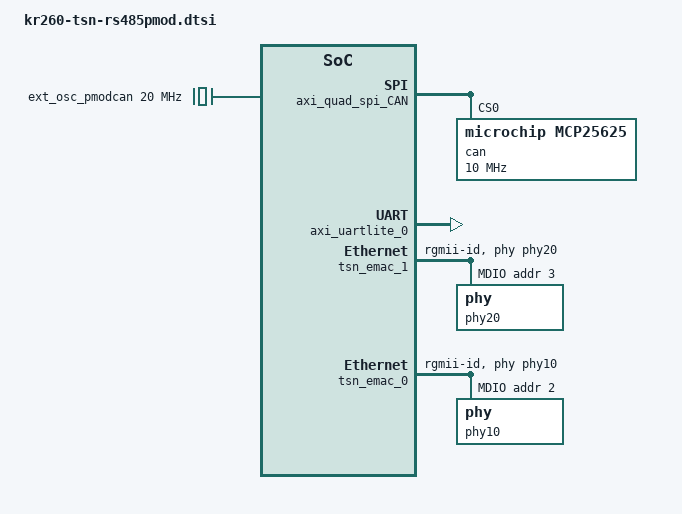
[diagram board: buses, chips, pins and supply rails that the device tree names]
// SPDX-License-Identifier: Apache-2.0
/*
 * dts file for Xilinx KR260 TSN
 *
 * (C) Copyright 2021 - 2022, Xilinx, Inc.
 * Copyright (C) 2023 - 2024, Advanced Micro Devices, Inc.
 *
 */

/dts-v1/;
/plugin/;

&fpga_full {
	#address-cells = <2>;
	#size-cells = <2>;
	firmware-name = "kr260-tsn-rs485pmod.bit.bin";
	resets = <&zynqmp_reset 116>;
};

&amba {
	afi0: afi0 {
		compatible = "xlnx,afi-fpga";
		config-afi = <0 0>, <1 0>, <2 0>, <3 0>, <4 0>, <5 0>, <6 0>, <7 0>, <8 0>, <9 0>, <10 0>, <11 0>, <12 0>, <13 0>, <14 0xa00>, <15 0x000>;
	};

	clk_out_200M: clk_out_200M { /* clk_out1 - clk_wiz_0 */
		compatible = "fixed-factor-clock";
		clocks = <&clk_25_0>; /* u92/91 - 25MHz clock - modelled in board dts */
		#clock-cells = <0>;
		clock-div = <1>;
		clock-mult = <8>;
	};

	clk_out_125M: clk_out_125M { /* clk_out2 - clk_wiz_0 */
		compatible = "fixed-factor-clock";
		clocks = <&clk_25_0>; /* u92/91 - 25MHz clock - modelled in board dts */
		#clock-cells = <0>;
		clock-div = <1>;
		clock-mult = <5>;
	};

	clk_out_300M: clk_out_300M { /* clk_out3 - clk_wiz_0 */
		compatible = "fixed-factor-clock";
		clocks = <&clk_25_0>; /* u92/91 - 25MHz clock - modelled in board dts */
		#clock-cells = <0>;
		clock-div = <1>;
		clock-mult = <12>;
	};

	clk_out_100M: clk_out_100M { /* clk_out4 - clk_wiz_0 */
		compatible = "fixed-factor-clock";
		clocks = <&clk_25_0>; /* u92/91 - 25MHz clock - modelled in board dts */
		#clock-cells = <0>;
		clock-div = <1>;
		clock-mult = <4>;
	};

	axi_intc_0: interrupt-controller@80020000 {
		clock-names = "s_axi_clk";
		clocks = <&clk_out_100M>;
		#interrupt-cells = <2>;
		compatible = "xlnx,xps-intc-1.00.a";
		interrupt-controller ;
		interrupt-parent = <&gic>;
		interrupts = <0 89 4>;
		reg = <0x0 0x80020000 0x0 0x1000>;
		xlnx,kind-of-intr = <0x000>;
		xlnx,num-intr-inputs = <0x20>;
	};
 
	/* ext_osc_pmodcan: External oscillator (X1) residing on Digilent PmodCAN device.
	Supplies 20MHz fixed clock to MCP25625 CAN Controller on the device to enable
  	communication. Refer PmodCAN schematic for details. */
 
 	ext_osc_pmodcan: ext_osc_pmodcan {
                compatible = "fixed-clock";
                #clock-cells = <0>;
                clock-frequency = <20000000>;
                clock-output-names = "ext_osc_pmodcan";
	};

	axi_quad_spi_CAN: axi_quad_spi@80080000 {
		bits-per-word = <8>;
		clock-names = "ext_spi_clk", "s_axi_clk";
		clocks = <&clk_out_100M>, <&clk_out_100M>;
		compatible = "xlnx,axi-quad-spi-3.2", "xlnx,xps-spi-2.00.a";
		fifo-size = <16>;
		interrupt-names = "ip2intc_irpt";
		interrupt-parent = <&axi_intc_0>;
		interrupts = <17 1>;
		num-cs = <0x1>;
		reg = <0x0 0x80080000 0x0 0x10000>;
		xlnx,num-ss-bits = <0x1>;
		xlnx,spi-mode = <0>;
    		can@0 {
			compatible = "microchip,mcp25625";
			reg = <0>;
			clocks = <&ext_osc_pmodcan>;
			interrupt-names = "can_int";
                       	interrupt-parent = <&axi_intc_0>; 
			interrupts = <16 1>;
			spi-max-frequency = <10000000>;
		};
	};

	axi_uartlite_0: serial@80010000 {
		clock-names = "s_axi_clk";
		clocks = <&clk_out_100M>;
		compatible = "xlnx,axi-uartlite-rs485";
		interrupt-parent = <&axi_intc_0>;
		interrupts = <15 0>;
		port-number = <0>;
		reg = <0x0 0x80010000 0x0 0x10000>;
	};

	axi_mcdma_0: axi_mcdma@80000000 {
		clock-names = "s_axi_clk", "s_axi_lite_clk";
		clocks = <&clk_out_200M>, <&clk_out_100M>;
		#dma-cells = <1>;
		compatible = "xlnx,axi-mcdma-1.1";
		interrupt-names = "mm2s_ch1_introut", "mm2s_ch2_introut", "s2mm_ch1_introut", "s2mm_ch2_introut", "s2mm_ch3_introut", "s2mm_ch4_introut";
		interrupt-parent = <&axi_intc_0>;
		interrupts = <9 2 10 2 11 2 12 2 13 2 14 2>;
		reg = <0x0 0x80000000 0x0 0x1000>;
		xlnx,addrwidth = <0x20>;
		xlnx,include-dre ;
		xlnx,num-mm2s-channels = <0x2>;
		xlnx,num-s2mm-channels = <0x4>;
	};

	tsn_endpoint_ip_0: tsn_endpoint_ip_0 {
		clock-names = "host_txfifo_aclk", "host_rx_fifo_aclk", "s_axi_clk", "gtx_clk", "gtx_clk90", "ref_clk";
		clocks = <&clk_out_200M>, <&clk_out_200M>, <&clk_out_100M>, <&clk_out_125M>, <&clk_out_125M>, <&clk_out_300M>;
		#address-cells = <2>;
		#size-cells = <2>;
		compatible = "xlnx,tsn-endpoint-ethernet-mac-2.0";
		interrupt-names = "interrupt_ptp_rx_1", "interrupt_ptp_tx_1", "mac_irq_1", "tsn_ep_scheduler_irq", "interrupt_ptp_timer", "interrupt_ptp_rx_2", "interrupt_ptp_tx_2", "mac_irq_2";
		interrupt-parent = <&axi_intc_0>;
		interrupts = <0 2 2 2 4 2 7 2 6 2 1 2 3 2 5 2>;
		ranges ;
		reg = <0x0 0x80040000 0x0 0x40000>;

		tsn_emac_1: tsn_emac_1@80060000 {
			compatible = "xlnx,tsn-ethernet-1.00.a";
			interrupt-names = "interrupt_ptp_rx_2", "interrupt_ptp_tx_2", "mac_irq_2";
			interrupt-parent = <&axi_intc_0>;
			interrupts = <1 2 3 2 5 2>;
			local-mac-address = [00 0A 35 00 01 0f];
			phy-handle = <&phy20>;
			phy-mode = "rgmii-id";
			reg = <0x0 0x80060000 0x0 0x14000>;
			tsn,endpoint = <&tsn_ep>;
			xlnx,eth-hasnobuf ;
			xlnx,num-queues = /bits/ 16 <0x4>;
			xlnx,num-tc = /bits/ 16 <0x2>;
			xlnx,phy-type = <0x3>;
			xlnx,qbv-addr = <0x80074000>;
			xlnx,qbv-size = <0x4000>;
			xlnx,rxsum = <0>;
			xlnx,tsn ;
			xlnx,tsn-slave ;
			xlnx,txsum = <0>;
			my_tsn_ip_mdio1: mdio {
				#address-cells = <1>;
				#size-cells = <0>;
				phy20: phy@3 {
					reg = <0x3>;
					ti,rx-internal-delay = <0x4>;
					ti,tx-internal-delay = <0x4>;
					tx-fifo-depth = <0x1>;
					rx-fifo-depth = <0x1>;
					ti,dp83867-rxctrl-strap-quirk;
				};
			};
		};

		tsn_emac_0: tsn_emac_0@80040000 {
			axistream-connected-rx = <&axi_mcdma_0>, <&axi_mcdma_0>;
			axistream-connected-tx = <&axi_mcdma_0>, <&ta_dma_0>;
			compatible = "xlnx,tsn-ethernet-1.00.a";
			interrupt-names = "interrupt_ptp_rx_1", "interrupt_ptp_tx_1", "mac_irq_1", "interrupt_ptp_timer";
			interrupt-parent = <&axi_intc_0>;
			interrupts = <0 2 2 2 4 2 6 2>;
			local-mac-address = [00 0A 35 00 01 0e];
			phy-handle = <&phy10>;
			phy-mode = "rgmii-id";
			reg = <0x0 0x80040000 0x0 0x14000>;
			tsn,endpoint = <&tsn_ep>;
			xlnx,channel-ids = "1","2","3","4";
			xlnx,eth-hasnobuf ;
			xlnx,num-queues = /bits/ 16 <0x4>;
			xlnx,num-tc = /bits/ 16 <0x2>;
			xlnx,phy-type = <0x3>;
			xlnx,qbv-addr = <0x80054000>;
			xlnx,qbv-size = <0x2000>;
			xlnx,rxsum = <0>;
			xlnx,tsn ;
			xlnx,txsum = <0>;
			my_tsn_ip_mdio0: mdio {
				#address-cells = <1>;
				#size-cells = <0>;
				phy10: phy@2 {
					reg = <0x2>;
					ti,rx-internal-delay = <0x4>;
					ti,tx-internal-delay = <0x4>;
					tx-fifo-depth = <0x1>;
					rx-fifo-depth = <0x1>;
					ti,dp83867-rxctrl-strap-quirk;
				};
			};
		};

		epswitch: tsn_switch@80078000 {
			compatible = "xlnx,tsn-switch";
			ports = <&tsn_ep>, <&tsn_emac_0>, <&tsn_emac_1>;
			reg = <0x0 0x80078000 0x0 0x00008000>;
			xlnx,has-hwaddr-learning ;
			xlnx,num-ports = /bits/ 16 <0x3>;
			xlnx,num-tc = /bits/ 16 <0x2>;
		};

		tsn_ep: tsn_ep@80056000 {
			axistream-connected-rx = <&axi_mcdma_0>, <&axi_mcdma_0>;
			axistream-connected-tx = <&axi_mcdma_0>, <&ta_dma_0>;
			compatible = "xlnx,tsn-ep";
			interrupt-names = "tsn_ep_scheduler_irq", "mm2s_ch1_introut", "mm2s_ch2_introut", "s2mm_ch1_introut", "s2mm_ch2_introut", "s2mm_ch3_introut", "s2mm_ch4_introut";
			interrupt-parent = <&axi_intc_0>;
			interrupts = <7 2 9 2 10 2 11 2 12 2 13 2 14 2>;
			local-mac-address = [00 0A 35 00 01 05];
			reg = <0x0 0x80056000 0x0 0xA000>;
			xlnx,channel-ids = "1","2","3","4";
			xlnx,eth-hasnobuf ;
			xlnx,num-tc = /bits/ 16 <0x2>;
		};
	};

	ta_dma_0: ta_dma@90000000 {
		clock-names = "dma_clk", "rtc_clk";
		clocks = <&clk_out_200M>, <&clk_out_125M>;
		interrupt-names = "introut";
		interrupt-parent = <&axi_intc_0>;
		interrupts = <8 2>;
		reg = <0x0 0x90000000 0x0 0x800000>;
		xlnx,num-buffers-per-stream = <0x40>;
		xlnx,num-fetch-entries = <0x8>;
		xlnx,num-streams = <0x8>;
	};

	tpmod_ctrl_0: tpmod_ctrl@80030000 {
		clock-names = "s00_axi_clk";
		clocks = <&clk_out_100M>;
		compatible = "generic-uio";
		linux,uio-name = "tpmod_ctrl";
		reg = <0x0 0x80030000 0x0 0x1000>;
	};

};
